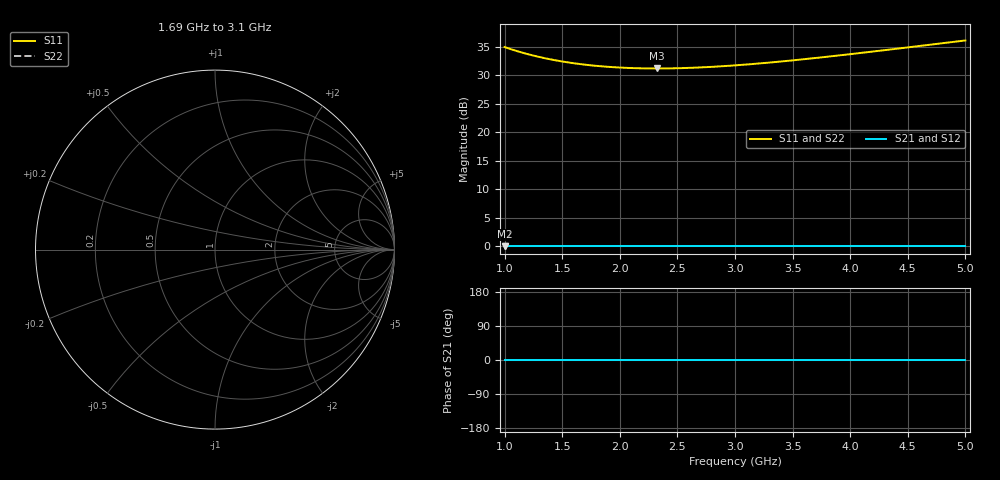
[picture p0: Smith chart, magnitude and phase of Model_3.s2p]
# GHZ S RI R 50
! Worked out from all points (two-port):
!   401 points, 1 GHz to 5 GHz, reference 50 ohm
!   highest |S21| = 0.00 dB at 1 GHz (marker M1); lowest = 0.0 dB at 1 GHz (marker M2)
!   |S21| within 3 dB of the highest: start of sweep to end of sweep
!   lowest |S11| = 31.2 dB at 2.32 GHz (marker M3)
!   |S11| at or under -10 dB: nowhere
!   |S22| runs from 31.2 to 36.1 dB; largest |S21 - S12| = 0
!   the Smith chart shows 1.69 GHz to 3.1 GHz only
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1  56 0  1 0  1 0  56 0
1.15  50.12 0  1 0  1 0  50.12 0
1.22  47.96 0  1 0  1 0  47.96 0
1.3  45.84 0  1 0  1 0  45.84 0
1.38  44.04 0  1 0  1 0  44.04 0
1.47  42.34 0  1 0  1 0  42.34 0
1.57  40.78 0  1 0  1 0  40.78 0
1.67  39.52 0  1 0  1 0  39.52 0
1.82  38.1 0  1 0  1 0  38.1 0
1.97  37.14 0  1 0  1 0  37.14 0
2.14  36.52 0  1 0  1 0  36.52 0
2.32  36.32 0  1 0  1 0  36.32 0
2.34  36.32 0  1 0  1 0  36.32 0
2.5  36.5 0  1 0  1 0  36.5 0
2.66  36.95 0  1 0  1 0  36.95 0
3  38.67 0  1 0  1 0  38.67 0
3.33  41.19 0  1 0  1 0  41.19 0
3.67  44.56 0  1 0  1 0  44.56 0
4  48.5 0  1 0  1 0  48.5 0
4.34  53.19 0  1 0  1 0  53.19 0
4.63  57.67 0  1 0  1 0  57.67 0
5  64 0  1 0  1 0  64 0
